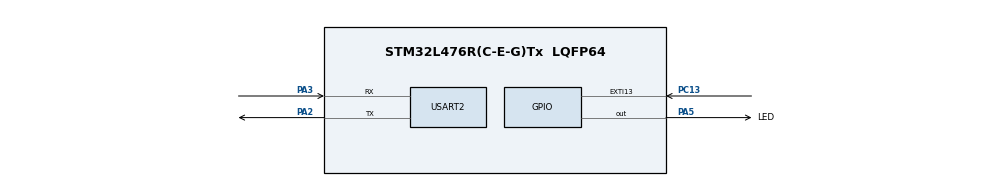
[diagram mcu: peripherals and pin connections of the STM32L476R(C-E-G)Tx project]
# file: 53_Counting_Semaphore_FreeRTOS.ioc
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FREERTOS.Tasks01=defaultTask,0,128,StartDefaultTask,Default,NULL,Dynamic,NULL,NULL
Mcu.Family=STM32L4
Mcu.Name=STM32L476R(C-E-G)Tx
Mcu.Package=LQFP64
NVIC.EXTI15_10_IRQn=true\:5\:0\:false\:false\:true\:true\:true\:true\:true
NVIC.PriorityGroup=NVIC_PRIORITYGROUP_4
NVIC.USART2_IRQn=true\:5\:0\:false\:false\:true\:true\:true\:true\:true
PA2.Mode=Asynchronous
PA2.Signal=USART2_TX
PA3.Mode=Asynchronous
PA3.Signal=USART2_RX
PA5.GPIO_Label=LED
PA5.PinState=GPIO_PIN_RESET
PA5.Signal=GPIO_Output
PC13.GPIO_PuPd=GPIO_PULLUP
PC13.Signal=GPXTI13
ProjectManager.HeapSize=0x200
ProjectManager.StackSize=0x400
ProjectManager.TargetToolchain=STM32CubeIDE
RCC.HSE_VALUE=8000000
RCC.HSI_VALUE=16000000
RCC.LSE_VALUE=32768
RCC.MSI_VALUE=4000000
RCC.VCOOutputFreq_Value=32000000
USART2.VirtualMode-Asynchronous=VM_ASYNC
VP_FREERTOS_VS_CMSIS_V1.Mode=CMSIS_V1
board=custom

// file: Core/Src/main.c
/* USER CODE BEGIN Header */
/**
  ******************************************************************************
  * @file           : main.c
  * @brief          : Main program body
  ******************************************************************************
  * @attention
  *
  * Copyright (c) 2026 STMicroelectronics.
  * All rights reserved.
  *
  * This software is licensed under terms that can be found in the LICENSE file
  * in the root directory of this software component.
  * If no LICENSE file comes with this software, it is provided AS-IS.
  *
  ******************************************************************************
  */
/* USER CODE END Header */
#include "main.h"
#include "cmsis_os.h"

/* USER CODE BEGIN Includes */
#include<stdio.h>
/* USER CODE END Includes */

/* USER CODE BEGIN PD */
#define NOT_PRESSED 0
#define PRESSED 1
/* USER CODE END PD */

UART_HandleTypeDef huart2;

osThreadId defaultTaskHandle;
/* USER CODE BEGIN PV */

TaskHandle_t xTaskHandle1 = NULL;

SemaphoreHandle_t CountingSem_Handle = NULL;

/* USER CODE END PV */

void SystemClock_Config(void);
static void MX_GPIO_Init(void);
static void MX_USART2_UART_Init(void);
void StartDefaultTask(void const * argument);

/* USER CODE BEGIN PFP */
void vTask_ProcessInterrupt(void *params);

/* USER CODE END PFP */

/* USER CODE BEGIN 0 */
void vTask_ProcessInterrupt(void *params)
{
    printf("Interrupt Processing Task Started\r\n");

    while(1)
    {
        if(xSemaphoreTake(CountingSem_Handle, portMAX_DELAY) == pdTRUE)
        {
            printf("Semaphore Taken -> Processing Event\r\n");

            HAL_GPIO_TogglePin(LED_GPIO_Port, LED_Pin);

            vTaskDelay(pdMS_TO_TICKS(500));
        }
    }
}

void HAL_GPIO_EXTI_Callback(uint16_t GPIO_Pin)
{
    BaseType_t xHigherPriorityTaskWoken = pdFALSE;

    if(GPIO_Pin == GPIO_PIN_13)
    {
        xSemaphoreGiveFromISR(CountingSem_Handle,
                              &xHigherPriorityTaskWoken);

        portYIELD_FROM_ISR(xHigherPriorityTaskWoken);
    }
}

/* USER CODE END 0 */

int main(void)
{

  /* MCU Configuration--------------------------------------------------------*/

  /* Reset of all peripherals, Initializes the Flash interface and the Systick. */
  HAL_Init();

  /* Configure the system clock */
  SystemClock_Config();

  /* Initialize all configured peripherals */
  MX_GPIO_Init();
  MX_USART2_UART_Init();
  /* USER CODE BEGIN 2 */
  printf("Testing the SVW...\n");

  /* USER CODE END 2 */

  /* USER CODE BEGIN RTOS_QUEUES */
  /* add queues, ... */

  //create counting semaphore
  CountingSem_Handle = xSemaphoreCreateCounting(10, 0);

  if(CountingSem_Handle != NULL)
  {
	  /* USER CODE BEGIN RTOS_THREADS */
	  /* add threads, ... */
	  printf("CountingSem created\r\n");
	  //create menu task
	  xTaskCreate(vTask_ProcessInterrupt,
	              "Task-Process",
	              200,
	              NULL,
	              1,
	              &xTaskHandle1);

	  //HAL_UART_Receive_IT(&huart2, &rdata, 1)

	  /* USER CODE END RTOS_THREADS */

	  /* Create the thread(s) */
	  /* definition and creation of defaultTask */
	  osThreadDef(defaultTask, StartDefaultTask, osPriorityNormal, 0, 128);
	  defaultTaskHandle = osThreadCreate(osThread(defaultTask), NULL);

	  /* USER CODE BEGIN RTOS_THREADS */
	  /* add threads, ... */

	  /* USER CODE END RTOS_THREADS */

	  /* Start scheduler */
	  osKernelStart();

  }
  else
  {
	  printf("CountingSem creation failed\r\n");
  }

  /* USER CODE END RTOS_QUEUES */

  /* We should never get here as control is now taken by the scheduler */

  /* Infinite loop */
  while (1)
  {

  }
}

void SystemClock_Config(void)
{
  RCC_OscInitTypeDef RCC_OscInitStruct = {0};
  RCC_ClkInitTypeDef RCC_ClkInitStruct = {0};

  /** Configure the main internal regulator output voltage
  */
  if (HAL_PWREx_ControlVoltageScaling(PWR_REGULATOR_VOLTAGE_SCALE1) != HAL_OK)
  {
    Error_Handler();
  }

  /** Initializes the RCC Oscillators according to the specified parameters
  * in the RCC_OscInitTypeDef structure.
  */
  RCC_OscInitStruct.OscillatorType = RCC_OSCILLATORTYPE_MSI;
  RCC_OscInitStruct.MSIState = RCC_MSI_ON;
  RCC_OscInitStruct.MSICalibrationValue = 0;
  RCC_OscInitStruct.MSIClockRange = RCC_MSIRANGE_6;
  RCC_OscInitStruct.PLL.PLLState = RCC_PLL_NONE;
  if (HAL_RCC_OscConfig(&RCC_OscInitStruct) != HAL_OK)
  {
    Error_Handler();
  }

  /** Initializes the CPU, AHB and APB buses clocks
  */
  RCC_ClkInitStruct.ClockType = RCC_CLOCKTYPE_HCLK|RCC_CLOCKTYPE_SYSCLK
                              |RCC_CLOCKTYPE_PCLK1|RCC_CLOCKTYPE_PCLK2;
  RCC_ClkInitStruct.SYSCLKSource = RCC_SYSCLKSOURCE_MSI;
  RCC_ClkInitStruct.AHBCLKDivider = RCC_SYSCLK_DIV1;
  RCC_ClkInitStruct.APB1CLKDivider = RCC_HCLK_DIV1;
  RCC_ClkInitStruct.APB2CLKDivider = RCC_HCLK_DIV1;

  if (HAL_RCC_ClockConfig(&RCC_ClkInitStruct, FLASH_LATENCY_0) != HAL_OK)
  {
    Error_Handler();
  }
}

static void MX_USART2_UART_Init(void)
{

  huart2.Instance = USART2;
  huart2.Init.BaudRate = 115200;
  huart2.Init.WordLength = UART_WORDLENGTH_8B;
  huart2.Init.StopBits = UART_STOPBITS_1;
  huart2.Init.Parity = UART_PARITY_NONE;
  huart2.Init.Mode = UART_MODE_TX_RX;
  huart2.Init.HwFlowCtl = UART_HWCONTROL_NONE;
  huart2.Init.OverSampling = UART_OVERSAMPLING_16;
  huart2.Init.OneBitSampling = UART_ONE_BIT_SAMPLE_DISABLE;
  huart2.AdvancedInit.AdvFeatureInit = UART_ADVFEATURE_NO_INIT;
  if (HAL_UART_Init(&huart2) != HAL_OK)
  {
    Error_Handler();
  }

}

static void MX_GPIO_Init(void)
{
  GPIO_InitTypeDef GPIO_InitStruct = {0};

  /* GPIO Ports Clock Enable */
  __HAL_RCC_GPIOC_CLK_ENABLE();
  __HAL_RCC_GPIOA_CLK_ENABLE();

  /*Configure GPIO pin Output Level */
  HAL_GPIO_WritePin(LED_GPIO_Port, LED_Pin, GPIO_PIN_RESET);

  /*Configure GPIO pin : PC13 */
  GPIO_InitStruct.Pin = GPIO_PIN_13;
  GPIO_InitStruct.Mode = GPIO_MODE_IT_RISING;
  GPIO_InitStruct.Pull = GPIO_PULLUP;
  HAL_GPIO_Init(GPIOC, &GPIO_InitStruct);

  /*Configure GPIO pin : LED_Pin */
  GPIO_InitStruct.Pin = LED_Pin;
  GPIO_InitStruct.Mode = GPIO_MODE_OUTPUT_PP;
  GPIO_InitStruct.Pull = GPIO_NOPULL;
  GPIO_InitStruct.Speed = GPIO_SPEED_FREQ_LOW;
  HAL_GPIO_Init(LED_GPIO_Port, &GPIO_InitStruct);

  /* EXTI interrupt init*/
  HAL_NVIC_SetPriority(EXTI15_10_IRQn, 5, 0);
  HAL_NVIC_EnableIRQ(EXTI15_10_IRQn);

}

void StartDefaultTask(void const * argument)
{
  for(;;)
  {
    osDelay(1);
  }
}

void Error_Handler(void)
{
  __disable_irq();
  while (1)
  {
  }
}
